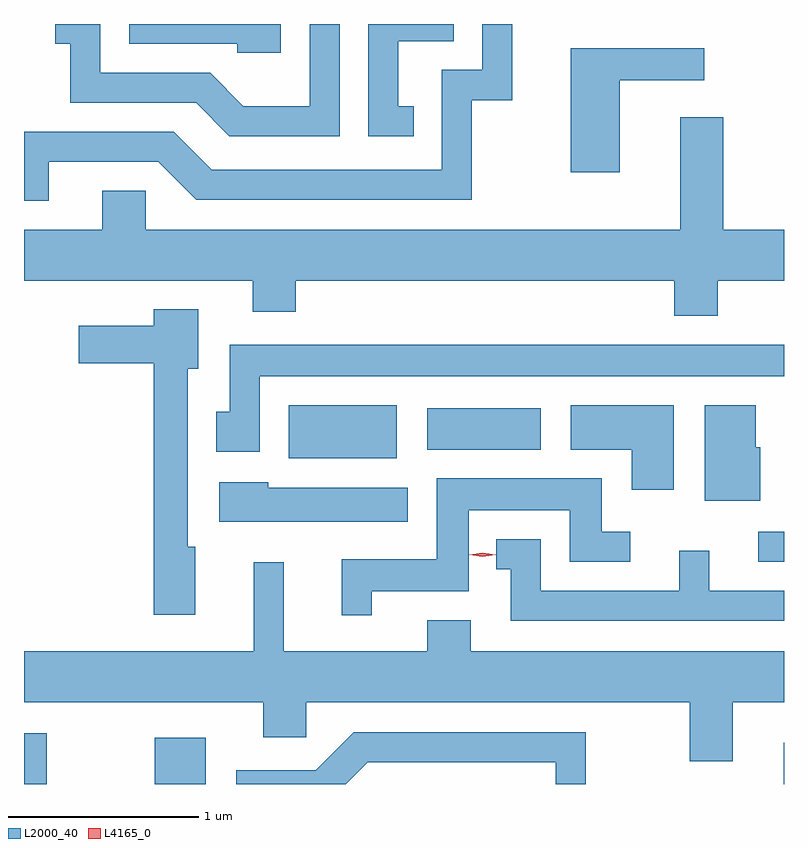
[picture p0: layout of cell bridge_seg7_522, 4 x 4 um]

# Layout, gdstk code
import gdstk
lib = gdstk.Library(unit=1e-6, precision=1e-09)
def R(c, l, rs):  # rectangles x0, y0, x1, y1
    for r in rs: c.add(gdstk.rectangle(r[:2], r[2:], *l))
def P(c, l, *ps):  # polygons
    for p in ps: c.add(gdstk.Polygon(p, *l))
L2000_40 = (2000, 40)
L4165_0 = (4165, 0)

bridge_seg7_522 = lib.new_cell('bridge_seg7_522')
R(bridge_seg7_522, L2000_40, [(888.748,1758.286,888.869,1758.554), (889.436,1758.286,889.704,1758.529), (892.746,1758.286,892.748,1758.503), (892.613,1759.456,892.748,1759.614), (890.141,1760.001,890.709,1760.279), (890.871,1760.046,891.469,1760.264)])
P(bridge_seg7_522, L2000_40, [(890.099,1762.286),(889.301,1762.286),(889.301,1762.181),(889.871,1762.181),(889.871,1762.136),(890.099,1762.136)],
  [(888.879,1761.561),(889.454,1761.561),(889.654,1761.361),(891.104,1761.361),(891.104,1761.886),(891.319,1761.886),(891.319,1762.286),(891.161,1762.286),(891.161,1762.044),(890.946,1762.044),(890.946,1761.519),(889.737,1761.519),(889.537,1761.719),(888.748,1761.719),(888.748,1761.356),(888.879,1761.356)],
  [(890.409,1762.286),(890.251,1762.286),(890.251,1761.854),(889.902,1761.854),(889.727,1762.029),(889.149,1762.029),(889.149,1762.286),(888.913,1762.286),(888.913,1762.181),(888.991,1762.181),(888.991,1761.871),(889.654,1761.871),(889.829,1761.696),(890.409,1761.696)],
  [(890.798,1761.854),(890.719,1761.854),(890.719,1762.196),(891.009,1762.196),(891.009,1762.286),(890.561,1762.286),(890.561,1761.696),(890.798,1761.696)],
  [(891.884,1761.991),(892.328,1761.991),(892.328,1762.159),(891.626,1762.159),(891.626,1761.506),(891.884,1761.506)],
  [(892.399,1760.936),(892.748,1760.936),(892.748,1761.204),(892.429,1761.204),(892.429,1761.794),(892.201,1761.794),(892.201,1761.204),(889.389,1761.204),(889.389,1761.409),(889.161,1761.409),(889.161,1761.204),(888.748,1761.204),(888.748,1760.936),(889.951,1760.936),(889.951,1760.771),(890.179,1760.771),(890.179,1760.936),(892.171,1760.936),(892.171,1760.751),(892.399,1760.751)],
  [(889.649,1759.534),(889.609,1759.534),(889.609,1760.471),(889.664,1760.471),(889.664,1760.784),(889.431,1760.784),(889.431,1760.699),(889.036,1760.699),(889.036,1760.501),(889.431,1760.501),(889.431,1759.176),(889.649,1759.176)],
  [(889.989,1760.431),(892.748,1760.431),(892.748,1760.599),(889.831,1760.599),(889.831,1760.244),(889.761,1760.244),(889.761,1760.036),(889.989,1760.036)],
  [(892.624,1760.059),(892.599,1760.059),(892.599,1760.279),(892.331,1760.279),(892.331,1759.776),(892.624,1759.776)],
  [(892.169,1760.279),(891.626,1760.279),(891.626,1760.046),(891.946,1760.046),(891.946,1759.836),(892.169,1759.836)],
  [(890.579,1759.301),(891.089,1759.301),(891.089,1759.726),(891.621,1759.726),(891.621,1759.456),(891.938,1759.456),(891.938,1759.614),(891.789,1759.614),(891.789,1759.894),(890.921,1759.894),(890.921,1759.469),(890.421,1759.469),(890.421,1759.173),(890.579,1759.173)],
  [(890.769,1759.844),(890.034,1759.844),(890.034,1759.874),(889.776,1759.874),(889.776,1759.666),(890.769,1759.666)],
  [(892.748,1759.304),(892.354,1759.304),(892.354,1759.513),(892.196,1759.513),(892.196,1759.304),(891.469,1759.304),(891.469,1759.574),(891.233,1759.574),(891.233,1759.416),(891.311,1759.416),(891.311,1759.146),(892.748,1759.146)],
  [(892.479,1758.716),(892.748,1758.716),(892.748,1758.984),(891.099,1758.984),(891.099,1759.149),(890.871,1759.149),(890.871,1758.984),(890.114,1758.984),(890.114,1759.453),(889.956,1759.453),(889.956,1758.984),(888.748,1758.984),(888.748,1758.716),(890.006,1758.716),(890.006,1758.531),(890.234,1758.531),(890.234,1758.716),(892.251,1758.716),(892.251,1758.406),(892.479,1758.406)],
  [(890.557,1758.401),(891.546,1758.401),(891.546,1758.286),(891.704,1758.286),(891.704,1758.559),(890.484,1758.559),(890.284,1758.359),(889.866,1758.359),(889.866,1758.286),(890.442,1758.286)])
P(bridge_seg7_522, L4165_0, [(891.162,1759.482),(891.092,1759.492),(891.092,1759.492),(891.092,1759.493),(891.162,1759.502),(891.231,1759.493),(891.231,1759.492),(891.231,1759.492)])

lib.write_gds('bridge_seg7_522.gds')
